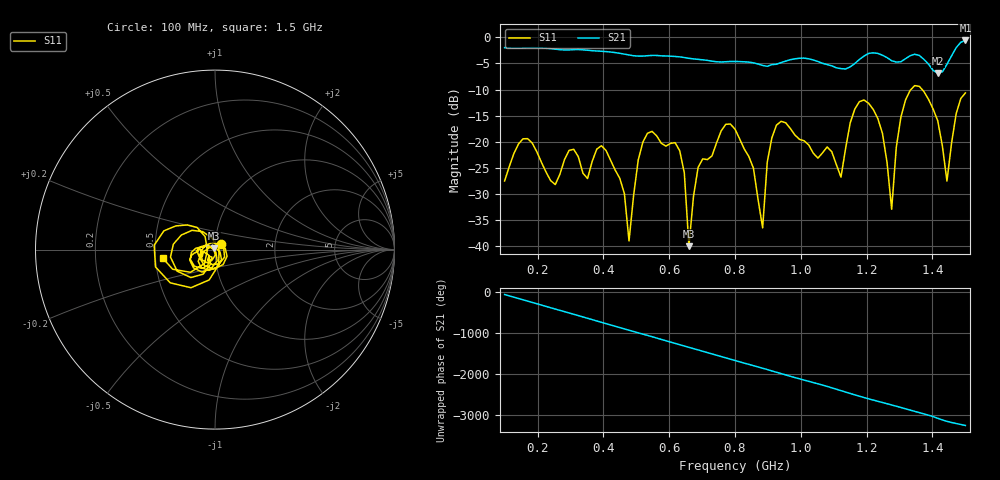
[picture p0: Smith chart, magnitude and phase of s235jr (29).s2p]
! NanoVNA-App
! Date: 2025-09-25 15:04:23
! Start: 100MHz Stop: 1,5GHz Points: 101
! S-Parameter data: F S11 S21 S12 S22
# Hz S RI R 50
!  Frequency  S11_Real  S11_Imag  S21_Real  S21_Imag  S12_Real  S12_Imag  S22_Real  S22_Imag
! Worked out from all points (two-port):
!   101 points, 100 MHz to 1.5 GHz, reference 50 ohm
!   highest |S21| = -0.59 dB at 1.5 GHz (marker M1); lowest = -6.8 dB at 1.416 GHz (marker M2)
!   |S21| within 3 dB of the highest: start of sweep to 601 MHz; 1.192 GHz to 1.253 GHz (61.64 MHz wide, 5.04 % of centre) (the widest 2 of 4)
!   lowest |S11| = -40.0 dB at 660 MHz (marker M3), VSWR 1.02, Z = 49.2 + j0.629 ohm
!   |S11| at or under -10 dB: start of sweep to 1.334 GHz; 1.369 GHz to end of sweep
!   S12 and S22 are empty: the file has one direction only
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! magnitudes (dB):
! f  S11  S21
! 100 MHz  -27.5  -2.0
! 156 MHz  -19.4  -2.0
! 338 MHz  -26.0  -2.4
! 408 MHz  -21.6  -2.7
! 478 MHz  -39.0  -3.4
! 520 MHz  -20.1  -3.6
! 576 MHz  -20.3  -3.5
! 632 MHz  -21.7  -3.7
! 660 MHz  -40.0  -4.0
! 688 MHz  -24.9  -4.2
! 800 MHz  -17.6  -4.6
! 884 MHz  -36.4  -5.4
! 926 MHz  -16.8  -5.1
! 1.038 GHz  -22.2  -4.3
! 1.122 GHz  -26.7  -6.0
! 1.206 GHz  -12.6  -3.1
! 1.248 GHz  -18.4  -3.4
! 1.276 GHz  -32.9  -4.5
! 1.332 GHz  -10.2  -3.5
! 1.416 GHz  -16.0  -6.8
! 1.444 GHz  -27.5  -5.2
! 1.5 GHz  -10.6  -0.6
